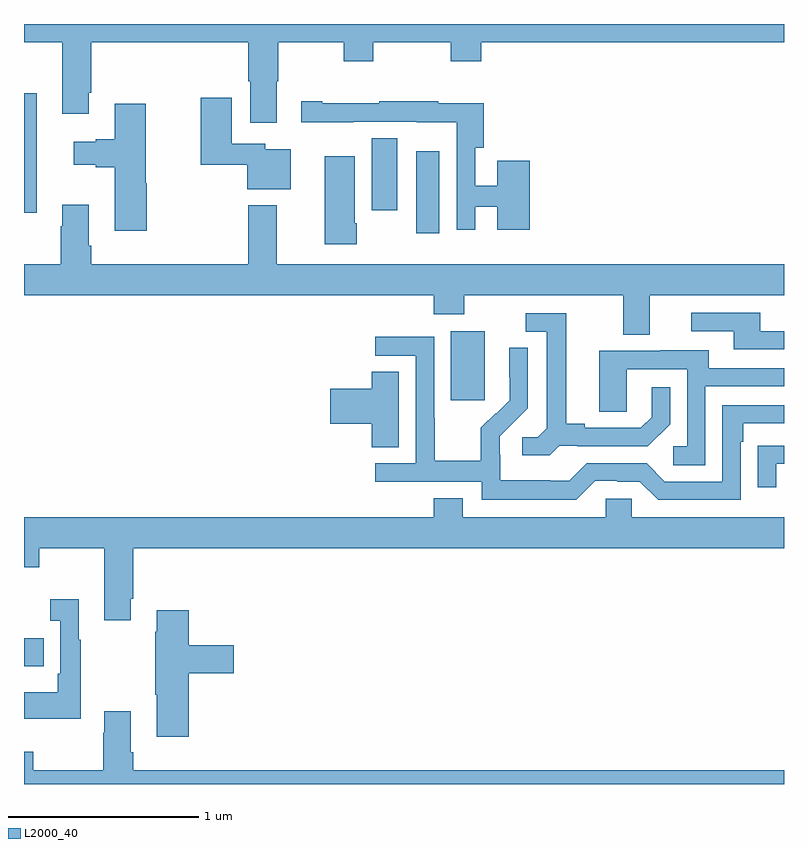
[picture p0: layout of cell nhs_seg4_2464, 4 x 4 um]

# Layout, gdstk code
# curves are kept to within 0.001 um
import gdstk
lib = gdstk.Library(unit=1e-6, precision=1e-09)
def R(c, l, rs):  # rectangles x0, y0, x1, y1
    for r in rs: c.add(gdstk.rectangle(r[:2], r[2:], *l))
def P(c, l, *ps):  # polygons
    for p in ps: c.add(gdstk.Polygon(p, *l))
L2000_40 = (2000, 40)

nhs_seg4_2464 = lib.new_cell('nhs_seg4_2464')
R(nhs_seg4_2464, L2000_40, [(239,809.519,239.105,809.667), (241.247,810.921,241.426,811.282), (241.064,811.8,241.186,812.23), (239,811.907,239.066,812.536), (240.83,811.92,240.964,812.3)])
P(nhs_seg4_2464, L2000_40, [(240.331,812.6),(240.339,812.6),(240.339,812.804),(240.682,812.804),(240.682,812.705),(240.837,812.705),(240.837,812.804),(241.246,812.804),(241.246,812.705),(241.406,812.705),(241.406,812.804),(243,812.804),(243,812.9),(239,812.9),(239,812.804),(239.201,812.804),(239.201,812.427),(239.341,812.427),(239.341,812.539),(239.354,812.539),(239.354,812.804),(240.179,812.804),(240.179,812.599),(240.191,812.599),(240.191,812.379),(240.331,812.379)],
  [(240.403,812.242),(240.27,812.242),(240.27,812.269),(240.094,812.269),(240.094,812.512),(239.929,812.512),(239.929,812.159),(240.176,812.159),(240.176,812.03),(240.403,812.03)],
  [(241.374,811.938),(241.49,811.938),(241.49,811.818),(241.661,811.818),(241.661,812.179),(241.49,812.179),(241.49,812.048),(241.374,812.048),(241.374,812.249),(241.421,812.249),(241.421,812.484),(241.181,812.484),(241.181,812.494),(240.871,812.494),(240.871,812.484),(240.571,812.484),(240.571,812.494),(240.459,812.494),(240.459,812.384),(240.734,812.384),(240.734,812.385),(241.068,812.385),(241.068,812.384),(241.278,812.384),(241.278,811.818),(241.374,811.818)],
  [(239.645,812.063),(239.64,812.063),(239.64,812.479),(239.477,812.479),(239.477,812.294),(239.378,812.294),(239.378,812.281),(239.262,812.281),(239.262,812.159),(239.378,812.159),(239.378,812.147),(239.477,812.147),(239.477,811.812),(239.645,811.812)],
  [(240.75,811.852),(240.742,811.852),(240.742,812.203),(240.584,812.203),(240.584,811.74),(240.75,811.74)],
  [(242.293,811.472),(243,811.472),(243,811.636),(240.331,811.636),(240.331,811.945),(240.179,811.945),(240.179,811.636),(239.354,811.636),(239.354,811.732),(239.341,811.732),(239.341,811.948),(239.201,811.948),(239.201,811.835),(239.194,811.835),(239.194,811.636),(239,811.636),(239,811.472),(241.157,811.472),(241.157,811.373),(241.317,811.373),(241.317,811.472),(242.153,811.472),(242.153,811.264),(242.293,811.264)],
  [(243,811.284),(242.875,811.284),(242.875,811.38),(242.511,811.38),(242.511,811.284),(242.735,811.284),(242.735,811.188),(243,811.188)],
  [(241.818,810.681),(241.912,810.681),(241.912,810.678),(242.284,810.678),(242.4,810.794),(242.4,810.988),(242.303,810.988),(242.303,810.831),(242.246,810.774),(241.951,810.774),(241.951,810.797),(241.855,810.797),(241.855,811.377),(241.641,811.377),(241.641,811.281),(241.751,811.281),(241.751,810.773),(241.704,810.726),(241.623,810.726),(241.623,810.629),(241.766,810.629)],
  [(242.007,810.495),(242.123,810.495),(242.123,810.492),(242.241,810.492),(242.337,810.396),(242.772,810.396),(242.772,810.701),(242.785,810.701),(242.785,810.798),(243,810.798),(243,810.894),(242.676,810.894),(242.676,810.492),(242.373,810.492),(242.277,810.588),(241.962,810.588),(241.869,810.495),(241.769,810.495),(241.769,810.499),(241.506,810.499),(241.506,810.633),(241.504,810.633),(241.504,810.73),(241.65,810.878),(241.65,811.196),(241.554,811.196),(241.554,811.042),(241.556,811.042),(241.556,810.92),(241.485,810.849),(241.482,810.852),(241.405,810.775),(241.405,810.601),(241.161,810.601),(241.161,810.824),(241.158,810.824),(241.158,811.254),(240.849,811.254),(240.849,811.155),(241.062,811.155),(241.062,810.588),(240.849,810.588),(240.849,810.492),(241.41,810.492),(241.41,810.395),(241.907,810.395)],
  [(242.586,810.993),(243,810.993),(243,811.089),(242.605,811.089),(242.605,811.183),(242.351,811.183),(242.351,811.179),(242.027,811.179),(242.027,810.859),(242.172,810.859),(242.172,811.083),(242.49,811.083),(242.49,810.678),(242.418,810.678),(242.418,810.577),(242.586,810.577)],
  [(240.973,811.07),(240.83,811.07),(240.83,810.98),(240.612,810.98),(240.612,810.797),(240.83,810.797),(240.83,810.673),(240.973,810.673)],
  [(242.959,810.585),(243,810.585),(243,810.681),(242.965,810.681),(242.965,810.68),(242.863,810.68),(242.863,810.462),(242.959,810.462)],
  [(243,810.304),(242.199,810.304),(242.199,810.402),(242.061,810.402),(242.061,810.304),(241.309,810.304),(241.309,810.403),(241.157,810.403),(241.157,810.304),(239,810.304),(239,810.041),(239.079,810.041),(239.079,810.14),(239.423,810.14),(239.423,809.763),(239.563,809.763),(239.563,809.875),(239.576,809.875),(239.576,810.14),(243,810.14)],
  [(239.299,809.659),(239.287,809.659),(239.287,809.872),(239.139,809.872),(239.139,809.759),(239.19,809.759),(239.19,809.479),(239.178,809.479),(239.178,809.383),(239,809.383),(239,809.243),(239.299,809.243)],
  [(239.867,809.483),(240.103,809.483),(240.103,809.63),(239.867,809.63),(239.867,809.815),(239.699,809.815),(239.699,809.702),(239.692,809.702),(239.692,809.371),(239.699,809.371),(239.699,809.148),(239.867,809.148)],
  [(243,808.972),(239.576,808.972),(239.576,809.068),(239.563,809.068),(239.563,809.284),(239.423,809.284),(239.423,809.171),(239.416,809.171),(239.416,808.972),(239.049,808.972),(239.049,809.071),(239,809.071),(239,808.9),(243,808.9)])

lib.write_gds('nhs_seg4_2464.gds')
